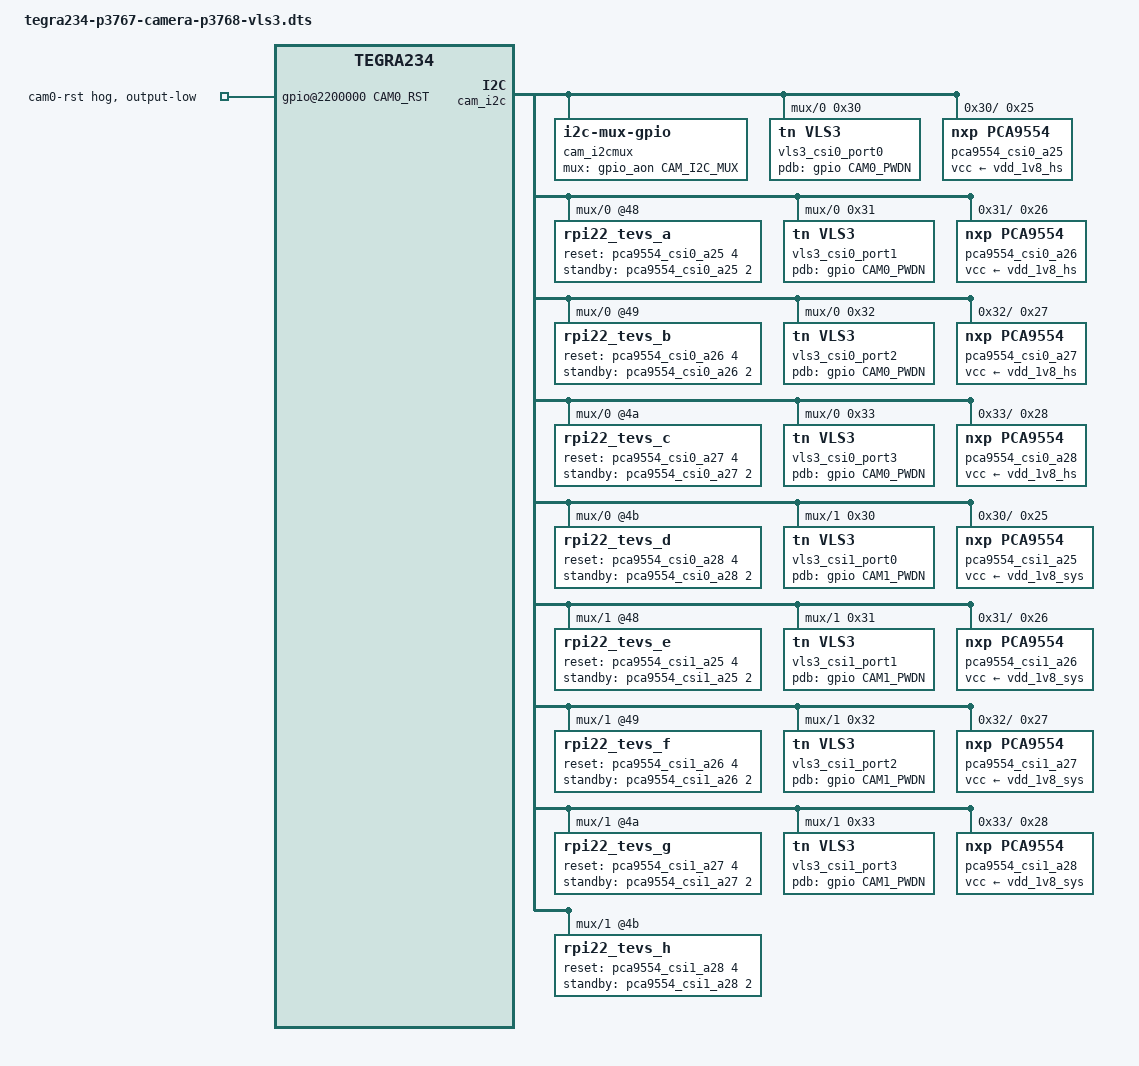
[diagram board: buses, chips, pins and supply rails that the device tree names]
// SPDX-License-Identifier: GPL-2.0-only
// SPDX-FileCopyrightText: Copyright (c) 2023, NVIDIA CORPORATION & AFFILIATES. All rights reserved.

/dts-v1/;
/plugin/;

#define CAM0_RST        TEGRA234_MAIN_GPIO(H, 3)
#define CAM0_PWDN	TEGRA234_MAIN_GPIO(H, 6)
#define CAM1_PWDN	TEGRA234_MAIN_GPIO(AC, 0)
#define CAM_I2C_MUX 	TEGRA234_AON_GPIO(CC, 3)

#include <dt-bindings/tegra234-p3767-0000-common.h>
#include "tegra234-camera-rpi22-vls3.dtsi"

/ {
	overlay-name = "TechNexion Camera TEVS Dual";
	jetson-header-name = "Jetson 24pin CSI Connector";
	compatible = JETSON_COMPATIBLE_P3768;

	fragment-camera-tevs@0 {
		target-path = "/";
		__overlay__ {
			bus@0 {
				cam_i2cmux{
					status = "okay";
					compatible = "i2c-mux-gpio";
					#address-cells = <1>;
					#size-cells = <0>;
					i2c-parent = <&cam_i2c>;
					mux-gpios = <&gpio_aon CAM_I2C_MUX GPIO_ACTIVE_HIGH>;
					i2c@0 {
						status = "okay";
						reg = <0>;
						#address-cells = <1>;
						#size-cells = <0>;

						vls3_csi0_port0: vls3@30 {
							compatible = "tn,vls3";
							reg = <0x30>;
							phy-reg = <0x30>;
							port = <0>;
							pdb-gpios = <&gpio CAM0_PWDN GPIO_ACTIVE_HIGH>;
							ser_alias_id = <0x40>;

							//i2c addr alias map "gpio extender, eeprom addr1, eeprom addr2, sensor"
							i2c_addr_alias_map_local = <0x25 0x48>;
							i2c_addr_alias_map_remote = <0x25 0x48>;

							//deserializer output csi lanes 1~4. default 4
							des_csi_lanes = <2>;

							//1: Enable 0: Disable continuous clock. default 0
							des_csi_continuous_clock = <0>;

							//serializer input csi lanes 1~4. default 4
							ser_csi_lanes = <2>;

							//1: Enable 0: Disable continuous clock. default 0
							ser_csi_continuous_clock = <0>;

							aeq_floor_val = <0>;

							status = "okay";

							i2c_dev_list {
								#address-cells = <1>;
								#size-cells = <0>;

								pca9554_csi0_a25: pca9554@25 {
									compatible = "nxp,pca9554";
									reg = <0x25>;
									gpio-controller;
									#gpio-cells = <2>;
									vcc-supply = <&vdd_1v8_hs>;
									vcc_lp = "vcc";
									status = "okay";
								};
							};
						};
						rpi22_tevs_a@48 {
							reset-gpios = <&pca9554_csi0_a25 4 GPIO_ACTIVE_HIGH>;
							standby-gpios = <&pca9554_csi0_a25 2 GPIO_ACTIVE_HIGH>;
							data-lanes = <2>;
							data-frequency = <248>;
							// trigger-mode;
							// hw-reset;
							status = "okay";
						};

						vls3_csi0_port1: vls3@31 {
							compatible = "tn,vls3";
							reg = <0x31>;
							phy-reg = <0x30>;
							port = <1>;
							pdb-gpios = <&gpio CAM0_PWDN GPIO_ACTIVE_HIGH>;
							ser_alias_id = <0x41>;

							//i2c addr alias map "gpio extender, eeprom addr1, eeprom addr2, sensor"
							i2c_addr_alias_map_local = <0x26 0x49>;
							i2c_addr_alias_map_remote = <0x25 0x48>;

							//deserializer output csi lanes 1~4. default 4
							des_csi_lanes = <2>;

							//1: Enable 0: Disable continuous clock. default 0
							des_csi_continuous_clock = <0>;

							//serializer input csi lanes 1~4. default 4
							ser_csi_lanes = <2>;

							//1: Enable 0: Disable continuous clock. default 0
							ser_csi_continuous_clock = <0>;

							aeq_floor_val = <0>;

							status = "okay";

							i2c_dev_list {
								#address-cells = <1>;
								#size-cells = <0>;

								pca9554_csi0_a26: pca9554@26 {
									compatible = "nxp,pca9554";
									reg = <0x26>;
									gpio-controller;
									#gpio-cells = <2>;
									vcc-supply = <&vdd_1v8_hs>;
									vcc_lp = "vcc";
									status = "okay";
								};
							};
						};
						rpi22_tevs_b@49 {
							reset-gpios = <&pca9554_csi0_a26 4 GPIO_ACTIVE_HIGH>;
							standby-gpios = <&pca9554_csi0_a26 2 GPIO_ACTIVE_HIGH>;
							data-lanes = <2>;
							data-frequency = <248>;
							// trigger-mode;
							// hw-reset;
							status = "okay";
						};

						vls3_csi0_port2: vls3@32 {
							compatible = "tn,vls3";
							reg = <0x32>;
							phy-reg = <0x30>;
							port = <2>;
							pdb-gpios = <&gpio CAM0_PWDN GPIO_ACTIVE_HIGH>;
							ser_alias_id = <0x42>;

							//i2c addr alias map "gpio extender, eeprom addr1, eeprom addr2, sensor"
							i2c_addr_alias_map_local = <0x27 0x4a>;
							i2c_addr_alias_map_remote = <0x25 0x48>;

							//deserializer output csi lanes 1~4. default 4
							des_csi_lanes = <2>;

							//1: Enable 0: Disable continuous clock. default 0
							des_csi_continuous_clock = <0>;

							//serializer input csi lanes 1~4. default 4
							ser_csi_lanes = <2>;

							//1: Enable 0: Disable continuous clock. default 0
							ser_csi_continuous_clock = <0>;

							aeq_floor_val = <0>;

							status = "okay";

							i2c_dev_list {
								#address-cells = <1>;
								#size-cells = <0>;

								pca9554_csi0_a27: pca9554@27 {
									compatible = "nxp,pca9554";
									reg = <0x27>;
									gpio-controller;
									#gpio-cells = <2>;
									vcc-supply = <&vdd_1v8_hs>;
									vcc_lp = "vcc";
									status = "okay";
								};
							};
						};
						rpi22_tevs_c@4a {
							reset-gpios = <&pca9554_csi0_a27 4 GPIO_ACTIVE_HIGH>;
							standby-gpios = <&pca9554_csi0_a27 2 GPIO_ACTIVE_HIGH>;
							data-lanes = <2>;
							data-frequency = <248>;
							// trigger-mode;
							// hw-reset;
							status = "okay";
						};

						vls3_csi0_port3: vls3@33 {
							compatible = "tn,vls3";
							reg = <0x33>;
							phy-reg = <0x30>;
							port = <3>;
							pdb-gpios = <&gpio CAM0_PWDN GPIO_ACTIVE_HIGH>;
							ser_alias_id = <0x43>;

							//i2c addr alias map "gpio extender, eeprom addr1, eeprom addr2, sensor"
							i2c_addr_alias_map_local = <0x28 0x4b>;
							i2c_addr_alias_map_remote = <0x25 0x48>;

							//deserializer output csi laneds 1~4. default 4
							des_csi_lanes = <2>;

							//1: Enable 0: Disable continuous clock. default 0
							des_csi_continuous_clock = <0>;

							//serializer input csi lanes 1~4. default 4
							ser_csi_lanes = <2>;

							//1: Enable 0: Disable continuous clock. default 0
							ser_csi_continuous_clock = <0>;

							aeq_floor_val = <0>;

							status = "okay";

							i2c_dev_list {
								#address-cells = <1>;
								#size-cells = <0>;

								pca9554_csi0_a28: pca9554@28 {
									compatible = "nxp,pca9554";
									reg = <0x28>;
									gpio-controller;
									#gpio-cells = <2>;
									vcc-supply = <&vdd_1v8_hs>;
									vcc_lp = "vcc";
									status = "okay";
								};
							};
						};
						rpi22_tevs_d@4b {
							reset-gpios = <&pca9554_csi0_a28 4 GPIO_ACTIVE_HIGH>;
							standby-gpios = <&pca9554_csi0_a28 2 GPIO_ACTIVE_HIGH>;
							data-lanes = <2>;
							data-frequency = <248>;
							// trigger-mode;
							// hw-reset;
							status = "okay";
						};
					};
					i2c@1 {
						status = "okay";
						reg = <1>;
						#address-cells = <1>;
						#size-cells = <0>;

						vls3_csi1_port0: vls3@30 {
							compatible = "tn,vls3";
							reg = <0x30>;
							phy-reg = <0x30>;
							port = <0>;
							pdb-gpios = <&gpio CAM1_PWDN GPIO_ACTIVE_HIGH>;
							ser_alias_id = <0x40>;

							//i2c addr alias map "gpio extender, eeprom addr1, eeprom addr2, sensor"
							i2c_addr_alias_map_local = <0x25 0x48>;
							i2c_addr_alias_map_remote = <0x25 0x48>;

							//deserializer output csi lanes 1~4. default 4
							des_csi_lanes = <2>;

							//1: Enable 0: Disable continuous clock. default 0
							des_csi_continuous_clock = <0>;

							//serializer input csi lanes 1~4. default 4
							ser_csi_lanes = <2>;

							//1: Enable 0: Disable continuous clock. default 0
							ser_csi_continuous_clock = <0>;

							aeq_floor_val = <0>;

							status = "okay";

							i2c_dev_list {
								#address-cells = <1>;
								#size-cells = <0>;

								pca9554_csi1_a25: pca9554@25 {
									compatible = "nxp,pca9554";
									reg = <0x25>;
									gpio-controller;
									#gpio-cells = <2>;
									vcc-supply = <&vdd_1v8_sys>;
									vcc_lp = "vcc";
									status = "okay";
								};
							};
						};
						rpi22_tevs_e@48 {
							reset-gpios = <&pca9554_csi1_a25 4 GPIO_ACTIVE_HIGH>;
							standby-gpios = <&pca9554_csi1_a25 2 GPIO_ACTIVE_HIGH>;
							data-lanes = <2>;
							data-frequency = <248>;
							// trigger-mode;
							// hw-reset;
							status = "okay";
						};

						vls3_csi1_port1: vls3@31 {
							compatible = "tn,vls3";
							reg = <0x31>;
							phy-reg = <0x30>;
							port = <1>;
							pdb-gpios = <&gpio CAM1_PWDN GPIO_ACTIVE_HIGH>;
							ser_alias_id = <0x41>;

							//i2c addr alias map "gpio extender, eeprom addr1, eeprom addr2, sensor"
							i2c_addr_alias_map_local = <0x26 0x49>;
							i2c_addr_alias_map_remote = <0x25 0x48>;

							//deserializer output csi lanes 1~4. default 4
							des_csi_lanes = <2>;

							//1: Enable 0: Disable continuous clock. default 0
							des_csi_continuous_clock = <0>;

							//serializer input csi lanes 1~4. default 4
							ser_csi_lanes = <2>;

							//1: Enable 0: Disable continuous clock. default 0
							ser_csi_continuous_clock = <0>;

							aeq_floor_val = <0>;

							status = "okay";

							i2c_dev_list {
								#address-cells = <1>;
								#size-cells = <0>;

								pca9554_csi1_a26: pca9554@26 {
									compatible = "nxp,pca9554";
									reg = <0x26>;
									gpio-controller;
									#gpio-cells = <2>;
									vcc-supply = <&vdd_1v8_sys>;
									vcc_lp = "vcc";
									status = "okay";
								};
							};
						};
						rpi22_tevs_f@49 {
							reset-gpios = <&pca9554_csi1_a26 4 GPIO_ACTIVE_HIGH>;
							standby-gpios = <&pca9554_csi1_a26 2 GPIO_ACTIVE_HIGH>;
							data-lanes = <2>;
							data-frequency = <248>;
							// trigger-mode;
							// hw-reset;
							status = "okay";
						};

						vls3_csi1_port2: vls3@32 {
							compatible = "tn,vls3";
							reg = <0x32>;
							phy-reg = <0x30>;
							port = <2>;
							pdb-gpios = <&gpio CAM1_PWDN GPIO_ACTIVE_HIGH>;
							ser_alias_id = <0x42>;

							//i2c addr alias map "gpio extender, eeprom addr1, eeprom addr2, sensor"
							i2c_addr_alias_map_local = <0x27 0x4a>;
							i2c_addr_alias_map_remote = <0x25 0x48>;

							//deserializer output csi lanes 1~4. default 4
							des_csi_lanes = <2>;

							//1: Enable 0: Disable continuous clock. default 0
							des_csi_continuous_clock = <0>;

							//serializer input csi lanes 1~4. default 4
							ser_csi_lanes = <2>;

							//1: Enable 0: Disable continuous clock. default 0
							ser_csi_continuous_clock = <0>;

							aeq_floor_val = <0>;

							status = "okay";

							i2c_dev_list {
								#address-cells = <1>;
								#size-cells = <0>;

								pca9554_csi1_a27: pca9554@27 {
									compatible = "nxp,pca9554";
									reg = <0x27>;
									gpio-controller;
									#gpio-cells = <2>;
									vcc-supply = <&vdd_1v8_sys>;
									vcc_lp = "vcc";
									status = "okay";
								};
							};
						};
						rpi22_tevs_g@4a {
							reset-gpios = <&pca9554_csi1_a27 4 GPIO_ACTIVE_HIGH>;
							standby-gpios = <&pca9554_csi1_a27 2 GPIO_ACTIVE_HIGH>;
							data-lanes = <2>;
							data-frequency = <248>;
							// trigger-mode;
							// hw-reset;
							status = "okay";
						};

						vls3_csi1_port3: vls3@33 {
							compatible = "tn,vls3";
							reg = <0x33>;
							phy-reg = <0x30>;
							port = <3>;
							pdb-gpios = <&gpio CAM1_PWDN GPIO_ACTIVE_HIGH>;
							ser_alias_id = <0x43>;

							//i2c addr alias map "gpio extender, eeprom addr1, eeprom addr2, sensor"
							i2c_addr_alias_map_local = <0x28 0x4b>;
							i2c_addr_alias_map_remote = <0x25 0x48>;

							//deserializer output csi lanes 1~4. default 4
							des_csi_lanes = <2>;

							//1: Enable 0: Disable continuous clock. default 0
							des_csi_continuous_clock = <0>;

							//serializer input csi lanes 1~4. default 4
							ser_csi_lanes = <2>;

							//1: Enable 0: Disable continuous clock. default 0
							ser_csi_continuous_clock = <0>;

							aeq_floor_val = <0>;

							status = "okay";

							i2c_dev_list {
								#address-cells = <1>;
								#size-cells = <0>;

								pca9554_csi1_a28: pca9554@28 {
									compatible = "nxp,pca9554";
									reg = <0x28>;
									gpio-controller;
									#gpio-cells = <2>;
									vcc-supply = <&vdd_1v8_sys>;
									vcc_lp = "vcc";
									status = "okay";
								};
							};
						};
						rpi22_tevs_h@4b {
							reset-gpios = <&pca9554_csi1_a28 4 GPIO_ACTIVE_HIGH>;
							standby-gpios = <&pca9554_csi1_a28 2 GPIO_ACTIVE_HIGH>;
							data-lanes = <2>;
							data-frequency = <248>;
							// trigger-mode;
							// hw-reset;
							status = "okay";
						};
					};
				};
				gpio@2200000 {
					camera-control-output-low {
						gpio-hog;
						output-low;
						gpios = <CAM0_RST 0>;
						label = "cam0-rst";
					};
				};
			};
		};
	};
};
